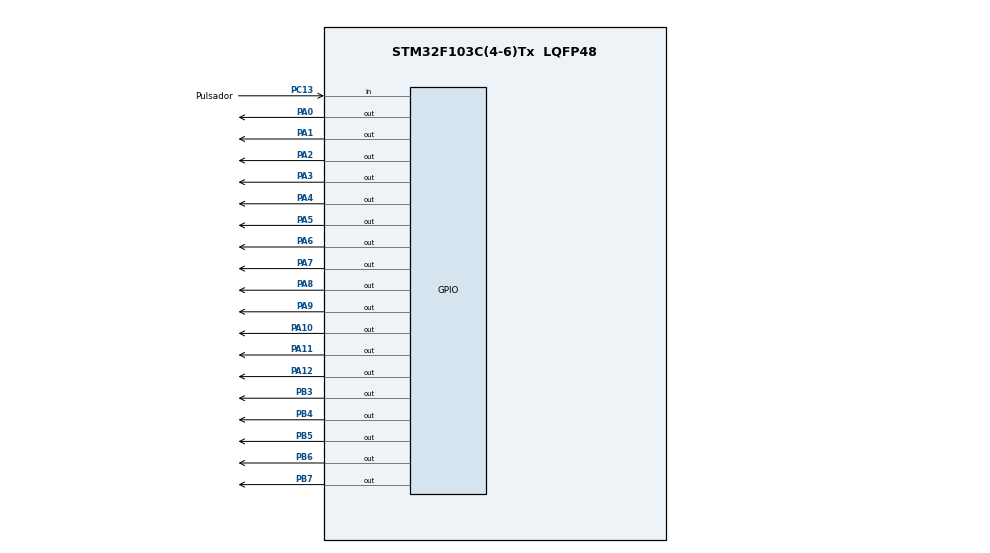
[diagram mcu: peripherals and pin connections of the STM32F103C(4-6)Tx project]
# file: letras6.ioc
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Mcu.Family=STM32F1
Mcu.Name=STM32F103C(4-6)Tx
Mcu.Package=LQFP48
NVIC.PriorityGroup=NVIC_PRIORITYGROUP_4
PA0-WKUP.Signal=GPIO_Output
PA1.Signal=GPIO_Output
PA10.Signal=GPIO_Output
PA11.Signal=GPIO_Output
PA12.Signal=GPIO_Output
PA2.Signal=GPIO_Output
PA3.Signal=GPIO_Output
PA4.Signal=GPIO_Output
PA5.Signal=GPIO_Output
PA6.Signal=GPIO_Output
PA7.Signal=GPIO_Output
PA8.Signal=GPIO_Output
PA9.Signal=GPIO_Output
PB3.Signal=GPIO_Output
PB4.Signal=GPIO_Output
PB5.Signal=GPIO_Output
PB6.Signal=GPIO_Output
PB7.Signal=GPIO_Output
PC13-TAMPER-RTC.GPIO_Label=Pulsador
PC13-TAMPER-RTC.GPIO_PuPd=GPIO_PULLUP
PC13-TAMPER-RTC.Signal=GPIO_Input
PD0-OSC_IN.Mode=HSE-External-Oscillator
PD0-OSC_IN.Signal=RCC_OSC_IN
PD1-OSC_OUT.Mode=HSE-External-Oscillator
PD1-OSC_OUT.Signal=RCC_OSC_OUT
ProjectManager.HeapSize=0x200
ProjectManager.StackSize=0x400
ProjectManager.TargetToolchain=STM32CubeIDE
RCC.APB1Freq_Value=8000000
RCC.APB2Freq_Value=8000000
VP_SYS_VS_ND.Mode=No_Debug
board=custom

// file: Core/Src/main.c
/* USER CODE BEGIN Header */
		/**
		  ******************************************************************************
		  * @file           : main.c
		  * @brief          : Main program body
		  ******************************************************************************
		  * @attention
		  *
		  * Copyright (c) 2026 STMicroelectronics.
		  * All rights reserved.
		  *
		  * This software is licensed under terms that can be found in the LICENSE file
		  * in the root directory of this software component.
		  * If no LICENSE file comes with this software, it is provided AS-IS.
		  *
		  ******************************************************************************
		  */
/* USER CODE END Header */
#include "main.h"

/* USER CODE BEGIN Includes */
	#include <string.h>
	#include <math.h>
/* USER CODE END Includes */

/* USER CODE BEGIN PD */
#define NUM_DISPLAYS 5
#define DEBOUNCE_TIME 50
#define SCROLL_SPEED 150  // Velocidad de desplazamiento

// Definición de pines para segmentos en PA0 - PA12
#define SEG_A   (1 << 0)   // PA0
#define SEG_B   (1 << 1)   // PA1
#define SEG_C   (1 << 2)   // PA2
#define SEG_D   (1 << 3)   // PA3
#define SEG_E   (1 << 4)   // PA4
#define SEG_F   (1 << 5)   // PA5
#define SEG_G   (1 << 6)   // PA6
#define SEG_H   (1 << 7)   // PA7
#define SEG_I   (1 << 8)   // PA8
#define SEG_J   (1 << 9)   // PA9
#define SEG_K   (1 << 10)  // PA10
#define SEG_L   (1 << 11)  // PA11
#define SEG_M   (1 << 12)  // PA12

// Definición de pines para transistores (PB3 a PB7)
#define TRANS1  (1 << 3)   // PB3 - Display 1
#define TRANS2  (1 << 4)   // PB4 - Display 2
#define TRANS3  (1 << 5)   // PB5 - Display 3
#define TRANS4  (1 << 6)   // PB6 - Display 4
#define TRANS5  (1 << 7)   // PB7 - Display 5

#define ALL_TRANS (TRANS1 | TRANS2 | TRANS3 | TRANS4 | TRANS5)

/* USER CODE END PD */

/* USER CODE BEGIN PV */

		int letras[28];
		int displayEncendido=1;
		char nombre1[] = "GABRIEL DAVID GONZALEZ GARCIA";
		char nombre2[] = "LEIDY TATIANA ARDILA LOPEZ";
		char nombre3[] = "IVAN DARIO MELO LAGOS";
		char *nombres[3] = {nombre1, nombre2, nombre3};
		int nombreActual = 0;
		int longitud = 0;
		int token = 0;
		int displayActual = 0;
		int contadorScroll = 0;
		int botonEstadoAnterior = 1;

/* USER CODE END PV */

void SystemClock_Config(void);
static void MX_GPIO_Init(void);
/* USER CODE BEGIN PFP */
	void definirLetras(void);
	int getLetra(char letra);
	int secuenciarTransitores(void);
	void cambiarNombre(void);
	int leerBoton(void);
/* USER CODE END PFP */

int main(void)
{

  /* MCU Configuration--------------------------------------------------------*/

  /* Reset of all peripherals, Initializes the Flash interface and the Systick. */
  HAL_Init();

  /* Configure the system clock */
  SystemClock_Config();

  /* Initialize all configured peripherals */
  MX_GPIO_Init();
  /* USER CODE BEGIN 2 */
  definirLetras();
    longitud = strlen(nombres[nombreActual]);
    displayEncendido = 1;
    botonEstadoAnterior = HAL_GPIO_ReadPin(Pulsador_GPIO_Port, Pulsador_Pin); // Pulsador en PC13
    token = 0;
    contadorScroll = 0;

  /* USER CODE END 2 */

  /* Infinite loop */
		  while (1)
		  {

    /* USER CODE BEGIN 3 */
			  // Leer pulsador
			      if(leerBoton()) {
			        cambiarNombre();
			      }

			      // Control de desplazamiento (scroll)
			      if(contadorScroll < SCROLL_SPEED){
			        contadorScroll++;
			      } else {
			        contadorScroll = 0;
			        token++;
			        // Desplazarse hasta el final del nombre + número de displays
			        if(token > longitud + NUM_DISPLAYS) {
			          token = 0;
			        }
			      }

			      // Mostrar en los displays (de izquierda a derecha)
			      int displayIndex = displayActual;
			      if(displayIndex < NUM_DISPLAYS) {
			        int charIndex = token + displayIndex;
			        char displayChar;
			        int displayValue;

			        // Si el índice está dentro del texto, mostrar la letra
			        if(charIndex < longitud) {
			          displayChar = nombres[nombreActual][charIndex];
			          displayValue = ~getLetra(displayChar);
			        } else {
			          displayValue = 0;  // Apagar si no hay letra
			        }

			        // Escribir los primeros 13 segmentos en GPIOA (PA0-PA12)
			        GPIOA->ODR = (GPIOA->ODR & ~0x1FFF) | (displayValue & 0x1FFF);
			      }

			      HAL_Delay(2);

			      // Apagar TODOS los displays
			      GPIOB->ODR &= ~ALL_TRANS;

			      // Encender SOLO el display actual
			      GPIOB->ODR |= secuenciarTransitores();

			      displayActual++;
			      if(displayActual >= NUM_DISPLAYS) {
			        displayActual = 0;
			      }
			    }

  /* USER CODE END 3 */
}

void SystemClock_Config(void)
{
  RCC_OscInitTypeDef RCC_OscInitStruct = {0};
  RCC_ClkInitTypeDef RCC_ClkInitStruct = {0};

  /** Initializes the RCC Oscillators according to the specified parameters
  * in the RCC_OscInitTypeDef structure.
  */
  RCC_OscInitStruct.OscillatorType = RCC_OSCILLATORTYPE_HSI;
  RCC_OscInitStruct.HSIState = RCC_HSI_ON;
  RCC_OscInitStruct.HSICalibrationValue = RCC_HSICALIBRATION_DEFAULT;
  RCC_OscInitStruct.PLL.PLLState = RCC_PLL_NONE;
  if (HAL_RCC_OscConfig(&RCC_OscInitStruct) != HAL_OK)
  {
    Error_Handler();
  }

  /** Initializes the CPU, AHB and APB buses clocks
  */
  RCC_ClkInitStruct.ClockType = RCC_CLOCKTYPE_HCLK|RCC_CLOCKTYPE_SYSCLK
                              |RCC_CLOCKTYPE_PCLK1|RCC_CLOCKTYPE_PCLK2;
  RCC_ClkInitStruct.SYSCLKSource = RCC_SYSCLKSOURCE_HSI;
  RCC_ClkInitStruct.AHBCLKDivider = RCC_SYSCLK_DIV1;
  RCC_ClkInitStruct.APB1CLKDivider = RCC_HCLK_DIV1;
  RCC_ClkInitStruct.APB2CLKDivider = RCC_HCLK_DIV1;

  if (HAL_RCC_ClockConfig(&RCC_ClkInitStruct, FLASH_LATENCY_0) != HAL_OK)
  {
    Error_Handler();
  }
}

static void MX_GPIO_Init(void)
{
  GPIO_InitTypeDef GPIO_InitStruct = {0};

  /* GPIO Ports Clock Enable */
  __HAL_RCC_GPIOC_CLK_ENABLE();
  __HAL_RCC_GPIOD_CLK_ENABLE();
  __HAL_RCC_GPIOA_CLK_ENABLE();
  __HAL_RCC_GPIOB_CLK_ENABLE();

  /*Configure GPIO pin Output Level */
  HAL_GPIO_WritePin(GPIOA, GPIO_PIN_0|GPIO_PIN_1|GPIO_PIN_2|GPIO_PIN_3
                          |GPIO_PIN_4|GPIO_PIN_5|GPIO_PIN_6|GPIO_PIN_7
                          |GPIO_PIN_8|GPIO_PIN_9|GPIO_PIN_10|GPIO_PIN_11
                          |GPIO_PIN_12, GPIO_PIN_RESET);

  /*Configure GPIO pin Output Level */
  HAL_GPIO_WritePin(GPIOB, GPIO_PIN_3|GPIO_PIN_4|GPIO_PIN_5|GPIO_PIN_6
                          |GPIO_PIN_7, GPIO_PIN_RESET);

  /*Configure GPIO pin : Pulsador_Pin */
  GPIO_InitStruct.Pin = Pulsador_Pin;
  GPIO_InitStruct.Mode = GPIO_MODE_INPUT;
  GPIO_InitStruct.Pull = GPIO_PULLUP;
  HAL_GPIO_Init(Pulsador_GPIO_Port, &GPIO_InitStruct);

  /*Configure GPIO pins : PA0 PA1 PA2 PA3
                           PA4 PA5 PA6 PA7
                           PA8 PA9 PA10 PA11
                           PA12 */
  GPIO_InitStruct.Pin = GPIO_PIN_0|GPIO_PIN_1|GPIO_PIN_2|GPIO_PIN_3
                          |GPIO_PIN_4|GPIO_PIN_5|GPIO_PIN_6|GPIO_PIN_7
                          |GPIO_PIN_8|GPIO_PIN_9|GPIO_PIN_10|GPIO_PIN_11
                          |GPIO_PIN_12;
  GPIO_InitStruct.Mode = GPIO_MODE_OUTPUT_PP;
  GPIO_InitStruct.Pull = GPIO_NOPULL;
  GPIO_InitStruct.Speed = GPIO_SPEED_FREQ_LOW;
  HAL_GPIO_Init(GPIOA, &GPIO_InitStruct);

  /*Configure GPIO pins : PB3 PB4 PB5 PB6
                           PB7 */
  GPIO_InitStruct.Pin = GPIO_PIN_3|GPIO_PIN_4|GPIO_PIN_5|GPIO_PIN_6
                          |GPIO_PIN_7;
  GPIO_InitStruct.Mode = GPIO_MODE_OUTPUT_PP;
  GPIO_InitStruct.Pull = GPIO_NOPULL;
  GPIO_InitStruct.Speed = GPIO_SPEED_FREQ_LOW;
  HAL_GPIO_Init(GPIOB, &GPIO_InitStruct);

}

/* USER CODE BEGIN 4 */
		void definirLetras(){
			  letras[0] = 119;    // A = 0000001110111
			  letras[1] = 127;    // B = 0000001111111
			  letras[2] = 57;     // C = 0000000111001
			  letras[3] = 94;     // D = 0000000111111
			  letras[4] = 121;    // E = 0000001111001
			  letras[5] = 113;    // F = 0000001110001
			  letras[6] = 125;    // G = 0000001111101
			  letras[7] = 118;    // H = 0000001110110
			  letras[8] = 2313;    // I = 0000101001001
			  letras[9] = 14;     // J = 0000000001110
			  letras[10] = 1648;  // K = 0011001110000
			  letras[11] = 56;    // L = 0000000111000
			  letras[12] = 694;   // M = 0001010110110
			  letras[13] = 1206;  // N = 0010010110110
			  letras[14] = 92;    // O = 0000001011100
			  letras[15] = 115;   // P = 0000001110011
			  letras[16] = 1123;  // Q = 0010001100011
			  letras[17] = 1139;  // R = 0010001110011
			  letras[18] = 109;   // S = 0000001101101
			  letras[19] = 2305;  // T = 0100100000001
			  letras[20] = 62;    // U = 0000000111110
			  letras[21] = 640;   // V = 0001010000000
			  letras[22] = 5174;  // W = 1010000110110
			  letras[23] = 5760;  // X = 1011010000000
			  letras[24] = 2688;  // Y = 0101010000000
			  letras[25] = 4617;  // Z = 1001000001001
		}

		int getLetra(char letra){
		  if(letra == ' '){
		    return 0;
		  } else if(letra >= 'A' && letra <= 'Z'){
		    return letras[(int)(letra - 'A')];
		  } else {
		    return 0;
		  }
		}

		int secuenciarTransitores(){
		  int valorActual = displayEncendido;
		  int resultado = 0;

		  // Mapeo de bits a pines PB3-PB7
		  if(valorActual & 1) resultado |= TRANS1;
		  if(valorActual & 2) resultado |= TRANS2;
		  if(valorActual & 4) resultado |= TRANS3;
		  if(valorActual & 8) resultado |= TRANS4;
		  if(valorActual & 16) resultado |= TRANS5;

		  displayEncendido = displayEncendido << 1;
		  if(displayEncendido > 16) {
		    displayEncendido = 1;
		  }

		  return resultado;
		}

		int leerBoton() {
		  int estadoActual = HAL_GPIO_ReadPin(GPIOC, GPIO_PIN_13); // Pulsador en PC13

		  // Detectar flanco de bajada (botón presionado con pull-up)
		  if(estadoActual == 0 && botonEstadoAnterior == 1) {
		    botonEstadoAnterior = estadoActual;
		    HAL_Delay(DEBOUNCE_TIME);
		    return 1;
		  }

		  botonEstadoAnterior = estadoActual;
		  return 0;
		}

		void cambiarNombre() {
		  nombreActual++;
		  if(nombreActual >= 3) {
		    nombreActual = 0;
		  }
		  token = 0;           // Reiniciar token al cambiar de nombre
		  contadorScroll = 0;  // Reiniciar contador de scroll
		  longitud = strlen(nombres[nombreActual]);
		}

/* USER CODE END 4 */

void Error_Handler(void)
{
		  __disable_irq();
		  while (1)
		  {
		  }
}
